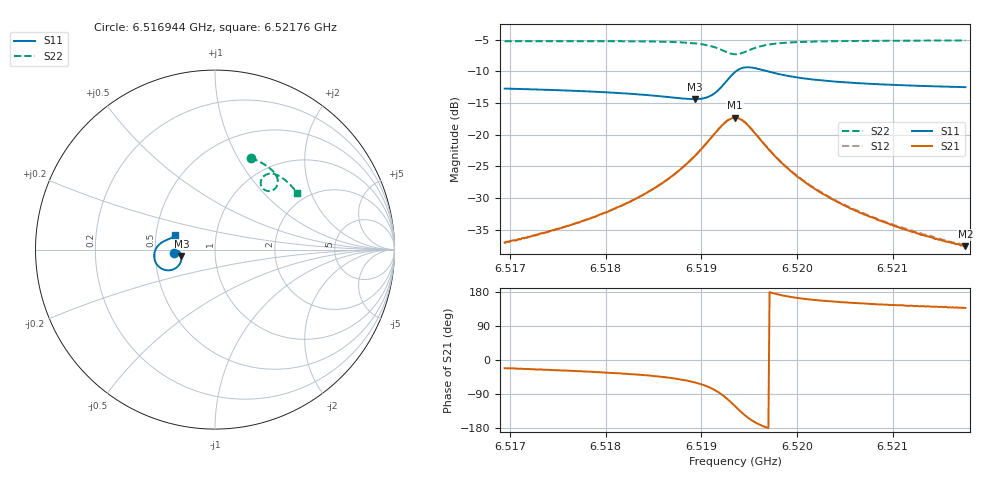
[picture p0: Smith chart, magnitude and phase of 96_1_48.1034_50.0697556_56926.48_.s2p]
#  HZ  S  RI  R  50.00
! Rohde & Schwarz Vector Network Analyzer
! Rohde-Schwarz,ZNB20-2Port,1311601062101988,3.16
! Created: UTC 12/23/2023, 3:44:16 AM
! freq[Hz]  re:S11  im:S11  re:S21  im:S21  re:S12  im:S12  re:S22  im:S22
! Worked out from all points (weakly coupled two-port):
!   401 points, 6.516944 GHz to 6.52176 GHz, reference 50 ohm
!   highest |S21| = -17.32 dB at 6.519352 GHz (marker M1); lowest = -37.6 dB at 6.52176 GHz (marker M2)
!   lowest |S11| = -14.4 dB at 6.518931 GHz (marker M3), VSWR 1.47, Z = 34.1 - j2.51 ohm
!   |S11| at or under -10 dB: start of sweep to 6.51936 GHz; 6.519698 GHz to end of sweep
!   |S22| runs from -7.3 to -5.1 dB; largest |S21 - S12| = 0.0042
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6.5169437e9  -0.2309 -0.0183  0.013 -0.00517  0.0131 -0.00459  0.1994 0.5107
6.5173772e9  -0.2263 -0.0118  0.0153 -0.00738  0.0154 -0.00683  0.2315 0.4975
6.5177505e9  -0.2209 -0.00746  0.018 -0.0102  0.0183 -0.0098  0.2589 0.4836
6.5182081e9  -0.2119 -0.00523  0.0229 -0.0167  0.0234 -0.0161  0.2935 0.4623
6.5185573e9  -0.2016 -0.00951  0.0286 -0.0274  0.0298 -0.0268  0.3205 0.4397
6.518762e9  -0.1938 -0.0187  0.0329 -0.0397  0.0344 -0.039  0.3364 0.4203
6.5189305e9  -0.1877 -0.0355  0.0348 -0.058  0.0368 -0.0573  0.3474 0.3971
6.5190389e9  -0.1875 -0.0546  0.0319 -0.0767  0.0343 -0.0763  0.3501 0.376
6.5191232e9  -0.1943 -0.0759  0.0225 -0.0959  0.0253 -0.0961  0.3454 0.3558
6.5192557e9  -0.2363 -0.1117  -0.0206 -0.1245  -0.0172 -0.126  0.3131 0.3275
6.5193038e9  -0.2639 -0.1155  -0.0459 -0.1251  -0.0428 -0.1273  0.2933 0.3265
6.519352e9  -0.2935 -0.1081  -0.0718 -0.1157  -0.069 -0.1185  0.2738 0.3346
6.5194122e9  -0.323 -0.0839  -0.0955 -0.0911  -0.0936 -0.0945  0.2578 0.3549
6.5194724e9  -0.3372 -0.0523  -0.1045 -0.0621  -0.1037 -0.0655  0.2549 0.379
6.5195687e9  -0.3348 -0.00906  -0.0978 -0.0254  -0.0978 -0.0284  0.269 0.4067
6.5196651e9  -0.3205 0.0176  -0.0825 -0.00496  -0.0832 -0.00734  0.2895 0.4197
6.5199179e9  -0.2869 0.0454  -0.0516 0.0118  -0.0524 0.0105  0.3322 0.4205
6.5201588e9  -0.2681 0.0541  -0.0359 0.0137  -0.0367 0.0129  0.3594 0.4092
6.5205441e9  -0.2508 0.0614  -0.0232 0.0127  -0.0239 0.0123  0.391 0.3874
6.5209656e9  -0.2391 0.0675  -0.0161 0.0113  -0.0168 0.0108  0.418 0.3625
6.5214593e9  -0.2293 0.0745  -0.0116 0.00955  -0.012 0.00952  0.4445 0.3325
6.5217603e9  -0.2242 0.0787  -0.00964 0.00893  -0.0102 0.00879  0.4592 0.3138
